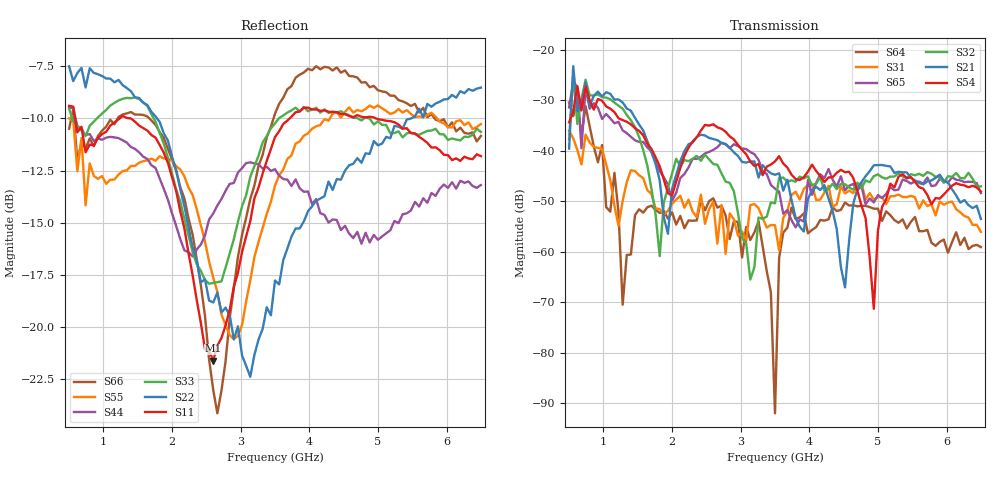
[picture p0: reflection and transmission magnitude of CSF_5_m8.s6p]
!Keysight Technologies,M9804A,MY58100912,A.14.10.03
!Date: Thursday, April 27, 2023 10:28:33
!Correction: S11(C  6-Port  )
!S12(C  6-Port  )
!S13(C  6-Port  )
!S14(C  6-Port  )
!S15(C  6-Port  )
!S16(C  6-Port  )
!S21(C  6-Port  )
!S22(C  6-Port  )
!S23(C  6-Port  )
!S24(C  6-Port  )
!S25(C  6-Port  )
!S26(C  6-Port  )
!S31(C  6-Port  )
!S32(C  6-Port  )
!S33(C  6-Port  )
!S34(C  6-Port  )
!S35(C  6-Port  )
!S36(C  6-Port  )
!S41(C  6-Port  )
!S42(C  6-Port  )
!S43(C  6-Port  )
!S44(C  6-Port  )
!S45(C  6-Port  )
!S46(C  6-Port  )
!S51(C  6-Port  )
!S52(C  6-Port  )
!S53(C  6-Port  )
!S54(C  6-Port  )
!S55(C  6-Port  )
!S56(C  6-Port  )
!S61(C  6-Port  )
!S62(C  6-Port  )
!S63(C  6-Port  )
!S64(C  6-Port  )
!S65(C  6-Port  )
!S66(C  6-Port  )
!S6P File: Measurement: :
# Hz S  RI  R 50
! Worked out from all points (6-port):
!   101 points, 500 MHz to 6.5 GHz, reference 50 ohm
!   strongest paths, dB at 500 MHz, 2 GHz, 3.5 GHz, 5 GHz, 6.5 GHz:
!     S54: -34.3, -48.8, -42.1, -55.8, -48.1
!     S21: -39.6, -47.6, -44.7, -42.8, -53.5
!     S32: -37.6, -44.5, -50.4, -44.7, -47.0
!     S65: -31.4, -49.9, -47.5, -48.8, -48.4
!     S31: -36.0, -50.5, -54.7, -49.2, -56.1
!     S64: -30.4, -52.2, -92.1, -51.5, -59.1
!   lowest |S11| = -21.6 dB at 2.6 GHz (marker M1), VSWR 1.18, Z = 42.6 + j2.02 ohm
!   |S11| at or under -10 dB: 587.4 MHz to 1.238 GHz (650.4 MHz wide, 71.3 % of centre); 1.387 GHz to 3.714 GHz (2.327 GHz wide, 91.2 % of centre); 4.97 GHz to end of sweep
